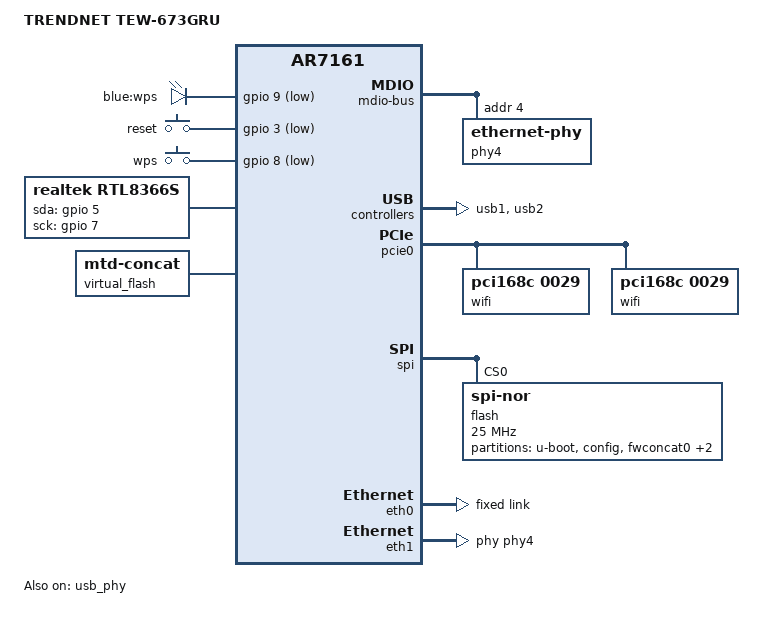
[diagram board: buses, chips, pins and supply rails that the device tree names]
// SPDX-License-Identifier: GPL-2.0-or-later OR MIT

#include "ar7100.dtsi"

#include <dt-bindings/gpio/gpio.h>
#include <dt-bindings/input/input.h>

/ {
	compatible = "trendnet,tew-673gru", "qca,ar7161";
	model = "TRENDNET TEW-673GRU";

	aliases {
		led-boot = &led_wps;
		led-failsafe = &led_wps;
		led-running = &led_wps;
		led-upgrade = &led_wps;
	};

	leds {
		compatible = "gpio-leds";

		led_wps: wps {
			label = "blue:wps";
			gpios = <&gpio 9 GPIO_ACTIVE_LOW>;
		};
	};

	keys {
		compatible = "gpio-keys";

		reset {
			label = "reset";
			linux,code = <KEY_RESTART>;
			gpios = <&gpio 3 GPIO_ACTIVE_LOW>;
		};

		wps {
			label = "wps";
			linux,code = <KEY_WPS_BUTTON>;
			gpios = <&gpio 8 GPIO_ACTIVE_LOW>;
		};
	};

	rtl8366s {
		compatible = "realtek,rtl8366s";
		gpio-sda = <&gpio 5 GPIO_ACTIVE_HIGH>;
		gpio-sck = <&gpio 7 GPIO_ACTIVE_HIGH>;
		realtek,initvals = <0x06 0x0108>;

		mdio-bus {
			#address-cells = <1>;
			#size-cells = <0>;
			status = "okay";

			phy4: ethernet-phy@4 {
				reg = <4>;
				phy-mode = "rgmii";
			};
		};
	};

	virtual_flash {
		compatible = "mtd-concat";
		devices = <&fwconcat0 &fwconcat1>;

		partitions {
			compatible = "fixed-partitions";
			#address-cells = <1>;
			#size-cells = <1>;

			partition@0 {
				compatible = "denx,uimage";
				label = "firmware";
				reg = <0x0 0x0>;
			};
		};
	};
};

&usb1 {
	status = "okay";
};

&usb2 {
	status = "okay";
};

&usb_phy {
	status = "okay";
};

&pcie0 {
	status = "okay";

	wifi@0,11 {
		compatible = "pci168c,0029";
		reg = <0x8800 0 0 0 0>;
		qca,no-eeprom;
	};

	wifi@0,12 {
		compatible = "pci168c,0029";
		reg = <0x9000 0 0 0 0>;
		qca,no-eeprom;
	};
};

&spi {
	status = "okay";

	flash@0 {
		compatible = "jedec,spi-nor";
		reg = <0>;
		spi-max-frequency = <25000000>;

		partitions {
			compatible = "fixed-partitions";
			#address-cells = <1>;
			#size-cells = <1>;

			partition@0 {
				label = "u-boot";
				reg = <0x000000 0x040000>;
				read-only;
			};

			partition@40000 {
				label = "config";
				reg = <0x040000 0x010000>;
				read-only;
			};

			fwconcat0: partition@50000 {
				label = "fwconcat0";
				reg = <0x050000 0x610000>;
			};

			partition@660000 {
				label = "caldata";
				reg = <0x660000 0x010000>;
				read-only;
			};

			fwconcat1: partition@670000 {
				label = "fwconcat1";
				reg = <0x670000 0x190000>;
			};
		};
	};
};

&eth0 {
	status = "okay";

	pll-data = <0x11110000 0x00001099 0x00991099>;

	fixed-link {
		speed = <1000>;
		full-duplex;
	};
};

&eth1 {
	status = "okay";

	pll-data = <0x11110000 0x00001099 0x00991099>;

	phy-handle = <&phy4>;
};
